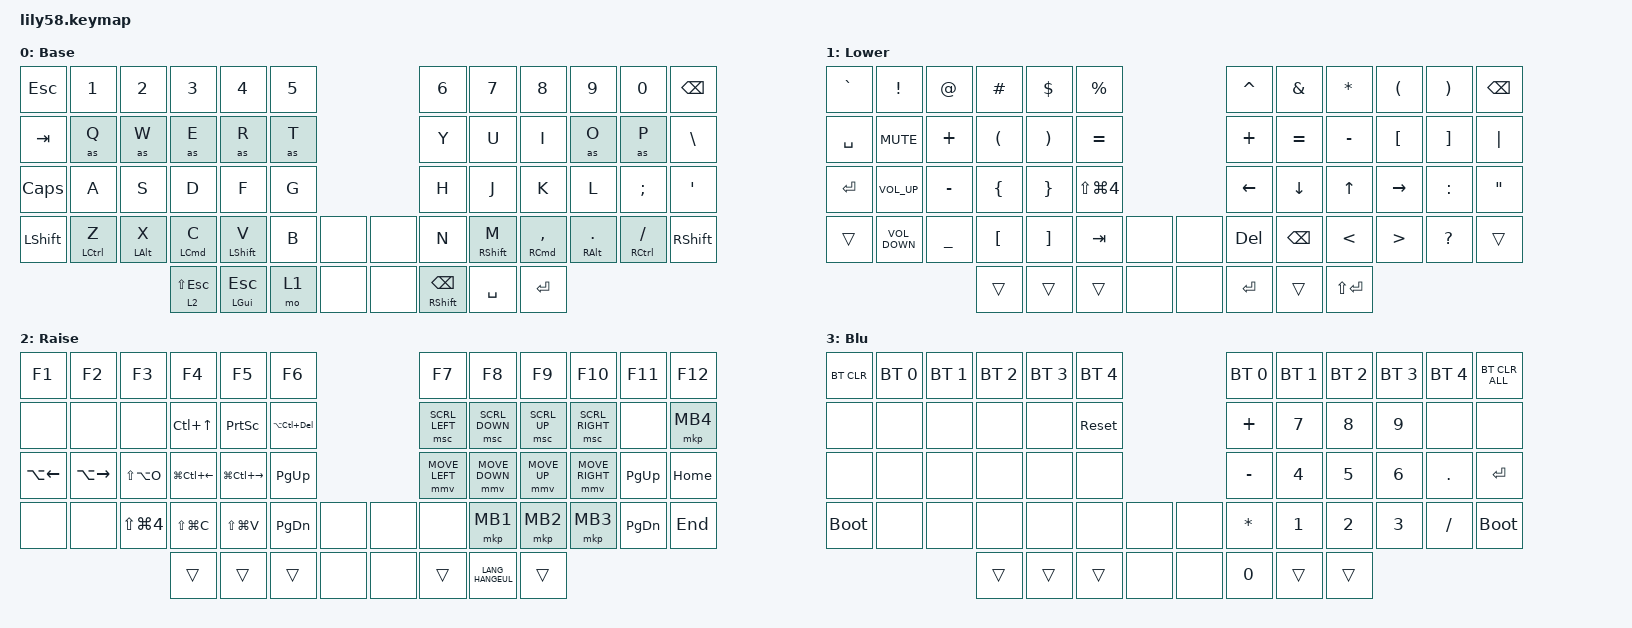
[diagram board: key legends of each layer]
/*
 * Copyright (c) 2020 The ZMK Contributors
 *
 * SPDX-License-Identifier: MIT
 */

#define ZMK_POINTING_DEFAULT_MOVE_VAL 1500  // default: 600
#define ZMK_POINTING_DEFAULT_SCRL_VAL 20    // default: 10

#include <dt-bindings/zmk/mouse.h>
#include <behaviors.dtsi>
#include <dt-bindings/zmk/bt.h>
#include <dt-bindings/zmk/keys.h>
#include <dt-bindings/zmk/pointing.h>

/ {
    behaviors {
        hmLeft: hmLeft {
            compatible = "zmk,behavior-hold-tap";
            label = "HMLEFT";
            bindings = <&kp>, <&kp>;

            #binding-cells = <2>;
            tapping-term-ms = <200>;
            quick-tap-ms = <150>;
            flavor = "tap-preferred";
            hold-trigger-key-positions = <6 7 8 9 10 11 18 19 20 21 22 23 30 31 32 33 34 35 43 44 45 46 47 48 49 54 55 56 57>;
        };

        hmRight: hmRight {
            compatible = "zmk,behavior-hold-tap";
            label = "HMRIGHT";
            bindings = <&kp>, <&kp>;

            #binding-cells = <2>;
            tapping-term-ms = <200>;
            quick-tap-ms = <150>;
            flavor = "tap-preferred";
            hold-trigger-key-positions = <0 1 2 4 5 12 13 14 15 16 17 24 25 26 27 28 29 36 37 38 39 40 41 42 50 51 52 53>;
        };

        layerTab: layerTab {
            compatible = "zmk,behavior-hold-tap";
            label = "LAYERTAB";
            bindings = <&mo>, <&kp>;

            #binding-cells = <2>;
            tapping-term-ms = <200>;
            flavor = "tap-preferred";
        };

        as_ht: autoshift_hold_tap {
            compatible = "zmk,behavior-hold-tap";
            label = "AUTOSHIFT_HOLD_TAP";
            #binding-cells = <2>;
            tapping-term-ms = <240>;
            flavor = "tap-preferred";
            bindings = <&shifted>, <&kp>;
        };

        as_ht_slow: autoshift_hold_tap_slow {
            compatible = "zmk,behavior-hold-tap";
            label = "AUTOSHIFT_HOLD_TAP_SLOW";
            #binding-cells = <2>;
            tapping-term-ms = <280>;
            flavor = "tap-preferred";
            bindings = <&shifted>, <&kp>;
        };
    };

    macros {
        shifted: macro_shifted_kp {
            compatible = "zmk,behavior-macro-one-param";
            label = "MACRO_SHIFTED_KP";
            #binding-cells = <1>;
            bindings =
                <&macro_press>,
                <&kp LSHFT &macro_param_1to1>,
                <&macro_tap>,
                <&kp MACRO_PLACEHOLDER>,
                <&macro_release>,
                <&kp LSHFT>;
        };

        as: autoshift {
            compatible = "zmk,behavior-macro-one-param";
            label = "AUTOSHIFT_KP";
            #binding-cells = <1>;
            bindings =
                <&macro_press>,
                <&macro_param_1to1 &macro_param_1to2 &as_ht MACRO_PLACEHOLDER MACRO_PLACEHOLDER>,
                <&macro_pause_for_release>,
                <&macro_release>,
                <&macro_param_1to1 &macro_param_1to2 &as_ht MACRO_PLACEHOLDER MACRO_PLACEHOLDER>;
        };

        as_slow: autoshift_slow {
            compatible = "zmk,behavior-macro-one-param";
            label = "AUTOSHIFT_KP_SLOW";
            #binding-cells = <1>;
            bindings =
                <&macro_press>,
                <&macro_param_1to1 &macro_param_1to2 &as_ht_slow MACRO_PLACEHOLDER MACRO_PLACEHOLDER>,
                <&macro_pause_for_release>,
                <&macro_release>,
                <&macro_param_1to1 &macro_param_1to2 &as_ht_slow MACRO_PLACEHOLDER MACRO_PLACEHOLDER>;
        };
    };

    combos {
        compatible = "zmk,combos";

        toggleLayer1 {
            bindings = <&tog 1>;
            key-positions = <7 8>;
        };

        toggleLayer2 {
            bindings = <&tog 2>;
            key-positions = <8 9>;
        };

        cb_enter {
            bindings = <&kp ENTER>;
            key-positions = <32 33>;
        };

        blue {
            bindings = <&mo 3>;
            key-positions = <51 52>;
        };

        toggleLayer3 {
            bindings = <&tog 3>;
            key-positions = <7 9>;
        };

        cb_tab {
            bindings = <&kp TAB>;
            key-positions = <28 27>;
        };

        cb_shiftenter {
            bindings = <&kp LS(ENTER)>;
            key-positions = <31 33>;
        };
    };

    keymap {
        compatible = "zmk,keymap";

        default_layer {
            display-name = "Base";
            bindings = <
&kp ESC       &kp N1                  &kp N2              &kp N3                  &kp N4                &kp N5                  &kp N6                     &kp N7                  &kp N8                        &kp N9                     &kp N0                        &kp BACKSPACE
&kp TAB       &as Q                   &as W               &as E                   &as R                 &as T                   &kp Y                      &kp U                   &kp I                         &as O                      &as P                         &kp BACKSLASH
&kp CAPSLOCK  &kp A                   &kp S               &kp D                   &kp F                 &kp G                   &kp H                      &kp J                   &kp K                         &kp L                      &kp SEMICOLON                 &kp SQT
&kp LSHFT     &hmLeft LEFT_CONTROL Z  &hmLeft LEFT_ALT X  &hmLeft LEFT_COMMAND C  &hmLeft LEFT_SHIFT V  &kp B   &none    &none  &kp N                      &hmRight RIGHT_SHIFT M  &hmRight RIGHT_COMMAND COMMA  &hmRight RIGHT_ALT PERIOD  &hmRight RIGHT_CONTROL SLASH  &kp RSHFT
                                                          &layerTab 2 LS(ESC)     &mt LGUI ESCAPE       &mo 1   &none    &none  &mt RIGHT_SHIFT BACKSPACE  &kp SPACE               &kp ENTER
            >;
        };

        lower_layer {
            display-name = "Lower";
            bindings = <
&kp GRAVE  &kp EXCLAMATION    &kp AT_SIGN     &kp HASH              &kp DOLLAR             &kp PERCENT                           &kp CARET       &kp AMPERSAND   &kp ASTERISK   &kp LEFT_PARENTHESIS  &kp RIGHT_PARENTHESIS  &kp BACKSPACE
&kp SPACE  &kp K_MUTE         &kp PLUS        &kp LEFT_PARENTHESIS  &kp RIGHT_PARENTHESIS  &kp EQUAL                             &kp PLUS        &kp EQUAL       &kp MINUS      &kp LEFT_BRACKET      &kp RIGHT_BRACKET      &kp PIPE
&kp ENTER  &kp C_VOLUME_UP    &kp MINUS       &kp LEFT_BRACE        &kp RIGHT_BRACE        &kp LS(LG(NUMBER_4))                  &kp LEFT_ARROW  &kp DOWN_ARROW  &kp UP_ARROW   &kp RIGHT_ARROW       &kp COLON              &kp DOUBLE_QUOTES
&trans     &kp C_VOLUME_DOWN  &kp UNDERSCORE  &kp LEFT_BRACKET      &kp RIGHT_BRACKET      &kp TAB               &none    &none  &kp DELETE      &kp BACKSPACE   &kp LESS_THAN  &kp GREATER_THAN      &kp QUESTION           &trans
                                              &trans                &trans                 &trans                &none    &none  &kp ENTER       &trans          &kp LS(ENTER)
            >;
        };

        raise_layer {
            display-name = "Raise";
            bindings = <
&kp F1        &kp F2         &kp F3                &kp F4            &kp F5             &kp F6                              &kp F7          &kp F8            &kp F9        &kp F10          &kp F11        &kp F12
&none         &none          &none                 &kp LC(UP)        &kp PRINTSCREEN    &kp LA(LC(DELETE))                  &msc SCRL_LEFT  &msc SCRL_DOWN    &msc SCRL_UP  &msc SCRL_RIGHT  &none          &mkp MB4
&kp LA(LEFT)  &kp LA(RIGHT)  &kp LS(LA(O))         &kp LG(LC(LEFT))  &kp LG(LC(RIGHT))  &kp PAGE_UP                         &mmv MOVE_LEFT  &mmv MOVE_DOWN    &mmv MOVE_UP  &mmv MOVE_RIGHT  &kp PAGE_UP    &kp HOME
&none         &none          &kp LS(LG(NUMBER_4))  &kp LS(LG(C))     &kp LS(LG(V))      &kp PAGE_DOWN       &none    &none  &none           &mkp MB1          &mkp MB2      &mkp MB3         &kp PAGE_DOWN  &kp END
                                                   &trans            &trans             &trans              &none    &none  &trans          &kp LANG_HANGEUL  &trans
            >;
        };

        blue {
            display-name = "Blu";
            bindings = <
&bt BT_CLR   &bt BT_SEL 0  &bt BT_SEL 1  &bt BT_SEL 2  &bt BT_SEL 3  &bt BT_SEL 4                  &bt BT_SEL 0  &bt BT_SEL 1  &bt BT_SEL 2  &bt BT_SEL 3  &bt BT_SEL 4  &bt BT_CLR_ALL
&none        &none         &none         &none         &none         &sys_reset                    &kp PLUS      &kp N7        &kp N8        &kp N9        &none         &none
&none        &none         &none         &none         &none         &none                         &kp MINUS     &kp NUMBER_4  &kp N5        &kp NUMBER_6  &kp PERIOD    &kp ENTER
&bootloader  &none         &none         &none         &none         &none         &none    &none  &kp ASTERISK  &kp NUMBER_1  &kp NUMBER_2  &kp NUMBER_3  &kp SLASH     &bootloader
                                         &trans        &trans        &trans        &none    &none  &kp N0        &trans        &trans
            >;
        };

        extra_1 { status = "reserved"; };

        extra_2 { status = "reserved"; };
    };
};
